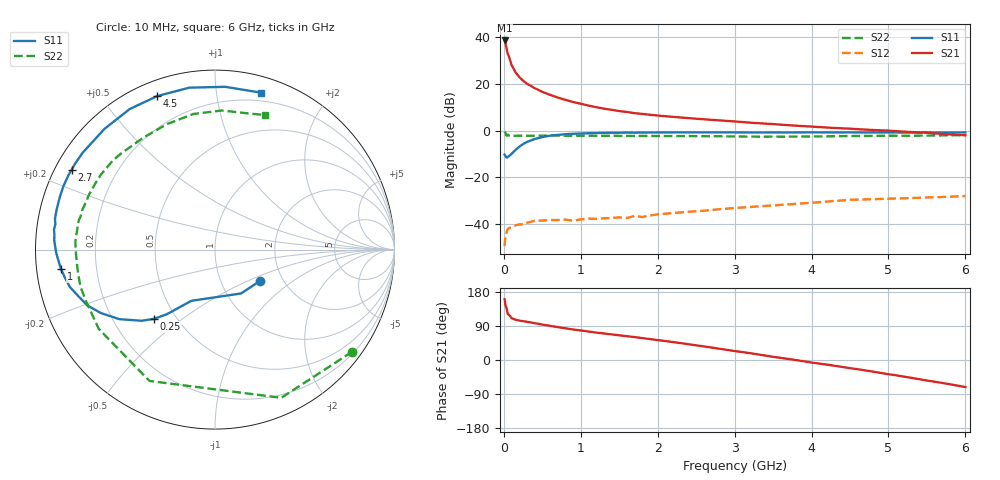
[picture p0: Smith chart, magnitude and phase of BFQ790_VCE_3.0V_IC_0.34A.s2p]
! Infineon Technologies  Discrete & RF Semiconductors
! BFQ790
! VCE =  3.0 V,  IC = 0.34 A
! Common Emitter S-Parameters:  May 2015
# GHz  S  MA  R  50
!  f  S11  S21  S12  S22
! GHz  MAG  ANG  MAG  ANG  MAG  ANG  MAG  ANG
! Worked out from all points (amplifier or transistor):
!   77 points, 10 MHz to 6 GHz, reference 50 ohm
!   highest |S21| = 38.7 dB at 10 MHz (marker M1)
!   |S21| within 3 dB of that: start of sweep to 32.56 MHz
!   unconditionally stable (mu >= 1): 181.5 MHz to end of sweep
!   at 130 MHz: K = 0.82, MSG = 33.7 dB, |S12| = -40.9 dB
!   at 2.2 GHz: K = 1.33, MAG = 17.2 dB, |S12| = -35.4 dB
!   at 6 GHz: K = 1.09, MAG = 11.2 dB, |S12| = -28.1 dB
!   S11 on the Smith chart (normalised r, x): 10 MHz: 1.53, -0.59; 250 MHz: 0.38, -0.40; 1 GHz: 0.07, -0.06; 2.7 GHz: 0.05, +0.26; 4.5 GHz: 0.07, +0.69; 6 GHz: 0.13, +1.33
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0.01  0.3051 -35.0  85.94 160.3  0.0033 68.8  0.9527 -36.7
0.02  0.2843 -59.2  74.32 145.1  0.0055 56.6  0.9046 -65.9
0.05  0.2721 -96.5  44.92 121.6  0.0077 34.6  0.8177 -116.5
0.1  0.3148 -114.9  25.47 110.2  0.0087 21.5  0.784 -145.7
0.15  0.381 -121.9  17.93 106.2  0.0092 18.4  0.774 -158.1
0.2  0.4494 -126.7  14.11 104.1  0.0097 26.7  0.7776 -164.5
0.25  0.5127 -131.3  11.79 102.4  0.0097 17.7  0.7744 -168.8
0.3  0.5687 -135.8  10.15 100.8  0.0105 16.9  0.7735 -172.1
0.4  0.6592 -144.0  8.127 97.1  0.0116 13.5  0.7741 -176.7
0.5  0.7263 -150.8  6.789 93.5  0.0117 12.3  0.7765 179.9
0.7  0.8063 -161.5  5.116 86.8  0.012 15.3  0.7786 174.8
0.9  0.8523 -169.8  4.105 80.5  0.0116 10.3  0.7755 171.1
1  0.8647 -172.8  3.759 78.0  0.0124 13.0  0.7769 169.3
1.1  0.8758 -176.3  3.44 75.1  0.0129 16.0  0.7757 167.6
1.5  0.8985 174.7  2.626 65.2  0.0137 16.6  0.7692 161.9
2.1  0.9109 163.4  2.033 50.0  0.0164 18.3  0.7623 153.1
2.7  0.9145 150.8  1.698 32.9  0.0197 13.7  0.7554 141.2
3.1  0.9106 141.5  1.523 20.9  0.0223 8.5  0.7448 132.2
4.1  0.9131 119.2  1.189 -9.4  0.029 -6.5  0.7492 108.5
4.5  0.914 110.6  1.098 -21.5  0.0327 -14.3  0.7651 99.1
5.1  0.909 96.5  0.972 -40.5  0.0348 -27.1  0.7748 85.2
6  0.9112 73.7  0.793 -71.5  0.0394 -47.9  0.7994 69.7
